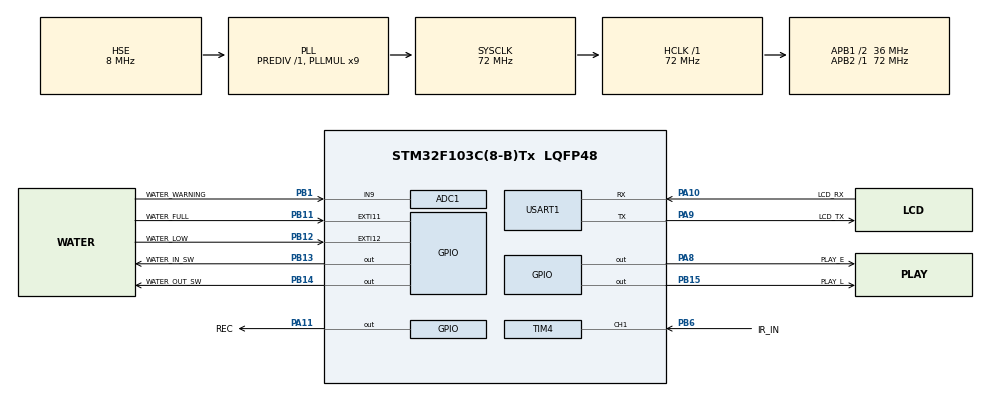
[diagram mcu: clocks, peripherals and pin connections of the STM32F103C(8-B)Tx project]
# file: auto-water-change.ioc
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ADC1.Channel-1\#ChannelRegularConversion=ADC_CHANNEL_9
ADC1.ContinuousConvMode=ENABLE
ADC1.NbrOfConversionFlag=1
ADC1.Rank-1\#ChannelRegularConversion=1
ADC1.SamplingTime-1\#ChannelRegularConversion=ADC_SAMPLETIME_1CYCLE_5
ADC1.master=1
Dma.Request0=USART1_RX
Dma.Request1=USART1_TX
Dma.USART1_RX.0.Direction=DMA_PERIPH_TO_MEMORY
Dma.USART1_RX.0.Instance=DMA1_Channel5
Dma.USART1_RX.0.MemDataAlignment=DMA_MDATAALIGN_BYTE
Dma.USART1_RX.0.MemInc=DMA_MINC_ENABLE
Dma.USART1_RX.0.Mode=DMA_NORMAL
Dma.USART1_RX.0.PeriphDataAlignment=DMA_PDATAALIGN_BYTE
Dma.USART1_RX.0.PeriphInc=DMA_PINC_DISABLE
Dma.USART1_RX.0.Priority=DMA_PRIORITY_LOW
Dma.USART1_TX.1.Direction=DMA_MEMORY_TO_PERIPH
Dma.USART1_TX.1.Instance=DMA1_Channel4
Dma.USART1_TX.1.MemDataAlignment=DMA_MDATAALIGN_BYTE
Dma.USART1_TX.1.MemInc=DMA_MINC_ENABLE
Dma.USART1_TX.1.Mode=DMA_NORMAL
Dma.USART1_TX.1.PeriphDataAlignment=DMA_PDATAALIGN_BYTE
Dma.USART1_TX.1.PeriphInc=DMA_PINC_DISABLE
Dma.USART1_TX.1.Priority=DMA_PRIORITY_LOW
FREERTOS.Tasks01=defaultTask,24,128,StartDefaultTask,Default,NULL,Dynamic,NULL,NULL
FREERTOS.configTOTAL_HEAP_SIZE=10240
FREERTOS.configUSE_NEWLIB_REENTRANT=1
Mcu.Family=STM32F1
Mcu.Name=STM32F103C(8-B)Tx
Mcu.Package=LQFP48
NVIC.DMA1_Channel4_IRQn=true\:6\:0\:true\:false\:true\:true\:false\:true\:true
NVIC.DMA1_Channel5_IRQn=true\:6\:0\:true\:false\:true\:true\:false\:true\:true
NVIC.EXTI15_10_IRQn=true\:6\:0\:true\:false\:true\:true\:true\:true\:true
NVIC.PriorityGroup=NVIC_PRIORITYGROUP_4
NVIC.TIM1_UP_IRQn=true\:15\:0\:false\:false\:true\:false\:false\:true\:true
NVIC.TIM2_IRQn=true\:7\:0\:true\:false\:true\:true\:true\:true\:true
NVIC.TIM3_IRQn=true\:6\:0\:true\:false\:true\:true\:true\:true\:true
NVIC.TIM4_IRQn=true\:5\:0\:true\:false\:true\:true\:true\:true\:true
NVIC.TimeBase=TIM1_UP_IRQn
NVIC.TimeBaseIP=TIM1
NVIC.USART1_IRQn=true\:5\:0\:true\:false\:true\:true\:true\:true\:true
PA10.GPIO_Label=LCD_RX
PA10.Mode=Asynchronous
PA10.Signal=USART1_RX
PA11.GPIO_Label=REC
PA11.GPIO_PuPd=GPIO_PULLDOWN
PA11.Signal=GPIO_Output
PA13.Mode=Serial_Wire
PA13.Signal=SYS_JTMS-SWDIO
PA14.Mode=Serial_Wire
PA14.Signal=SYS_JTCK-SWCLK
PA8.GPIO_Label=PLAY_E
PA8.GPIO_PuPd=GPIO_PULLDOWN
PA8.Signal=GPIO_Output
PA9.GPIO_Label=LCD_TX
PA9.Mode=Asynchronous
PA9.Signal=USART1_TX
PB1.GPIO_Label=WATER_WARNING
PB1.Signal=ADCx_IN9
PB11.GPIO_Label=WATER_FULL
PB11.GPIO_ModeDefaultEXTI=GPIO_MODE_IT_RISING_FALLING
PB11.GPIO_PuPd=GPIO_NOPULL
PB11.Signal=GPXTI11
PB12.GPIO_Label=WATER_LOW
PB12.GPIO_ModeDefaultEXTI=GPIO_MODE_IT_RISING_FALLING
PB12.GPIO_PuPd=GPIO_PULLUP
PB12.Signal=GPXTI12
PB13.GPIO_Label=WATER_IN_SW
PB13.GPIO_PuPd=GPIO_PULLUP
PB13.Signal=GPIO_Output
PB14.GPIO_Label=WATER_OUT_SW
PB14.GPIO_PuPd=GPIO_PULLUP
PB14.Signal=GPIO_Output
PB15.GPIO_Label=PLAY_L
PB15.GPIO_PuPd=GPIO_PULLDOWN
PB15.Signal=GPIO_Output
PB6.GPIO_Label=IR_IN
PB6.Signal=S_TIM4_CH1
PC14-OSC32_IN.Mode=LSE-External-Oscillator
PC14-OSC32_IN.Signal=RCC_OSC32_IN
PC15-OSC32_OUT.Mode=LSE-External-Oscillator
PC15-OSC32_OUT.Signal=RCC_OSC32_OUT
PD0-OSC_IN.Mode=HSE-External-Oscillator
PD0-OSC_IN.Signal=RCC_OSC_IN
PD1-OSC_OUT.Mode=HSE-External-Oscillator
PD1-OSC_OUT.Signal=RCC_OSC_OUT
ProjectManager.HeapSize=0x400
ProjectManager.StackSize=0x800
ProjectManager.TargetToolchain=STM32CubeIDE
RCC.ADCPresc=RCC_ADCPCLK2_DIV6
RCC.AHBFreq_Value=72000000
RCC.APB1CLKDivider=RCC_HCLK_DIV2
RCC.APB1Freq_Value=36000000
RCC.APB1TimFreq_Value=72000000
RCC.APB2Freq_Value=72000000
RCC.APB2TimFreq_Value=72000000
RCC.HCLKFreq_Value=72000000
RCC.PLLMUL=RCC_PLL_MUL9
RCC.PLLSourceVirtual=RCC_PLLSOURCE_HSE
RCC.RTCClockSelection=RCC_RTCCLKSOURCE_LSE
RCC.SYSCLKFreq_VALUE=72000000
RCC.SYSCLKSource=RCC_SYSCLKSOURCE_PLLCLK
RCC.USBFreq_Value=72000000
RTC.Format=RTC_FORMAT_BIN
RTC.WeekDay=RTC_WEEKDAY_SATURDAY
SH.ADCx_IN9.0=ADC1_IN9,IN9
SH.S_TIM4_CH1.0=TIM4_CH1,Input_Capture1_from_TI1
TIM2.AutoReloadPreload=TIM_AUTORELOAD_PRELOAD_ENABLE
TIM2.Channel-Output\ Compare1\ No\ Output=TIM_CHANNEL_1
TIM2.Period=5000 - 1
TIM2.Prescaler=7200 - 1
TIM3.Channel-Output\ Compare1\ No\ Output=TIM_CHANNEL_1
TIM3.Period=10000 - 1
TIM3.Prescaler=7200 - 1
TIM4.AutoReloadPreload=TIM_AUTORELOAD_PRELOAD_ENABLE
TIM4.Channel-Input_Capture1_from_TI1=TIM_CHANNEL_1
TIM4.Period=65535
TIM4.Prescaler=72 - 1
USART1.VirtualMode=VM_ASYNC
VP_FREERTOS_VS_CMSIS_V2.Mode=CMSIS_V2
VP_RTC_VS_RTC_Activate.Mode=RTC_Enabled
VP_RTC_VS_RTC_Calendar.Mode=RTC_Calendar
VP_SYS_VS_tim1.Mode=TIM1
VP_TIM2_VS_no_output1.Mode=Output Compare1 No Output
VP_TIM3_VS_no_output1.Mode=Output Compare1 No Output
board=custom

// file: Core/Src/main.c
/* USER CODE BEGIN Header */
/**
  ******************************************************************************
  * @file           : main.c
  * @brief          : Main program body
  ******************************************************************************
  * @attention
  *
  * Copyright (c) 2022 STMicroelectronics.
  * All rights reserved.
  *
  * This software is licensed under terms that can be found in the LICENSE file
  * in the root directory of this software component.
  * If no LICENSE file comes with this software, it is provided AS-IS.
  *
  ******************************************************************************
  */
/* USER CODE END Header */
#include "main.h"
#include "cmsis_os.h"

/* USER CODE BEGIN Includes */
#include "user_task.h"
#include "bsp_flash.h"
/* USER CODE END Includes */

ADC_HandleTypeDef hadc1;

RTC_HandleTypeDef hrtc;

TIM_HandleTypeDef htim2;
TIM_HandleTypeDef htim3;
TIM_HandleTypeDef htim4;

UART_HandleTypeDef huart1;
DMA_HandleTypeDef hdma_usart1_rx;
DMA_HandleTypeDef hdma_usart1_tx;

/* Definitions for defaultTask */
osThreadId_t defaultTaskHandle;
const osThreadAttr_t defaultTask_attributes = {
  .name = "defaultTask",
  .stack_size = 128 * 4,
  .priority = (osPriority_t) osPriorityNormal,
};

void SystemClock_Config(void);
static void MX_GPIO_Init(void);
static void MX_DMA_Init(void);
static void MX_USART1_UART_Init(void);
static void MX_TIM3_Init(void);
static void MX_RTC_Init(void);
static void MX_TIM2_Init(void);
static void MX_TIM4_Init(void);
static void MX_ADC1_Init(void);
void StartDefaultTask(void *argument);

int main(void)
{

  /* MCU Configuration--------------------------------------------------------*/

  /* Reset of all peripherals, Initializes the Flash interface and the Systick. */
  HAL_Init();

  /* Configure the system clock */
  SystemClock_Config();

  /* USER CODE BEGIN SysInit */
#ifdef RELEASE
	//SetFlashReadProtection(1);//开了读保护后，时间不更新，不想修了
#endif // RELEASE
  /* USER CODE END SysInit */

  /* Initialize all configured peripherals */
  MX_GPIO_Init();
  MX_DMA_Init();
  MX_USART1_UART_Init();
  MX_TIM3_Init();
  MX_RTC_Init();
  MX_TIM2_Init();
  MX_TIM4_Init();
  MX_ADC1_Init();

  /* Init scheduler */
  osKernelInitialize();

  /* Create the thread(s) */
  /* creation of defaultTask */
  defaultTaskHandle = osThreadNew(StartDefaultTask, NULL, &defaultTask_attributes);

  /* USER CODE BEGIN RTOS_THREADS */
		  /* add threads, ... */
	user_task_init();
  /* USER CODE END RTOS_THREADS */

  /* Start scheduler */
  osKernelStart();

  /* We should never get here as control is now taken by the scheduler */
  /* Infinite loop */
	while (1)
	{

	}
}

void SystemClock_Config(void)
{
  RCC_OscInitTypeDef RCC_OscInitStruct = {0};
  RCC_ClkInitTypeDef RCC_ClkInitStruct = {0};
  RCC_PeriphCLKInitTypeDef PeriphClkInit = {0};

  /** Initializes the RCC Oscillators according to the specified parameters
  * in the RCC_OscInitTypeDef structure.
  */
  RCC_OscInitStruct.OscillatorType = RCC_OSCILLATORTYPE_HSE|RCC_OSCILLATORTYPE_LSE;
  RCC_OscInitStruct.HSEState = RCC_HSE_ON;
  RCC_OscInitStruct.HSEPredivValue = RCC_HSE_PREDIV_DIV1;
  RCC_OscInitStruct.LSEState = RCC_LSE_ON;
  RCC_OscInitStruct.HSIState = RCC_HSI_ON;
  RCC_OscInitStruct.PLL.PLLState = RCC_PLL_ON;
  RCC_OscInitStruct.PLL.PLLSource = RCC_PLLSOURCE_HSE;
  RCC_OscInitStruct.PLL.PLLMUL = RCC_PLL_MUL9;
  if (HAL_RCC_OscConfig(&RCC_OscInitStruct) != HAL_OK)
  {
    Error_Handler();
  }

  /** Initializes the CPU, AHB and APB buses clocks
  */
  RCC_ClkInitStruct.ClockType = RCC_CLOCKTYPE_HCLK|RCC_CLOCKTYPE_SYSCLK
                              |RCC_CLOCKTYPE_PCLK1|RCC_CLOCKTYPE_PCLK2;
  RCC_ClkInitStruct.SYSCLKSource = RCC_SYSCLKSOURCE_PLLCLK;
  RCC_ClkInitStruct.AHBCLKDivider = RCC_SYSCLK_DIV1;
  RCC_ClkInitStruct.APB1CLKDivider = RCC_HCLK_DIV2;
  RCC_ClkInitStruct.APB2CLKDivider = RCC_HCLK_DIV1;

  if (HAL_RCC_ClockConfig(&RCC_ClkInitStruct, FLASH_LATENCY_2) != HAL_OK)
  {
    Error_Handler();
  }
  PeriphClkInit.PeriphClockSelection = RCC_PERIPHCLK_RTC|RCC_PERIPHCLK_ADC;
  PeriphClkInit.RTCClockSelection = RCC_RTCCLKSOURCE_LSE;
  PeriphClkInit.AdcClockSelection = RCC_ADCPCLK2_DIV6;
  if (HAL_RCCEx_PeriphCLKConfig(&PeriphClkInit) != HAL_OK)
  {
    Error_Handler();
  }
}

static void MX_ADC1_Init(void)
{

  ADC_ChannelConfTypeDef sConfig = {0};

  /** Common config
  */
  hadc1.Instance = ADC1;
  hadc1.Init.ScanConvMode = ADC_SCAN_DISABLE;
  hadc1.Init.ContinuousConvMode = ENABLE;
  hadc1.Init.DiscontinuousConvMode = DISABLE;
  hadc1.Init.ExternalTrigConv = ADC_SOFTWARE_START;
  hadc1.Init.DataAlign = ADC_DATAALIGN_RIGHT;
  hadc1.Init.NbrOfConversion = 1;
  if (HAL_ADC_Init(&hadc1) != HAL_OK)
  {
    Error_Handler();
  }

  /** Configure Regular Channel
  */
  sConfig.Channel = ADC_CHANNEL_9;
  sConfig.Rank = ADC_REGULAR_RANK_1;
  sConfig.SamplingTime = ADC_SAMPLETIME_1CYCLE_5;
  if (HAL_ADC_ConfigChannel(&hadc1, &sConfig) != HAL_OK)
  {
    Error_Handler();
  }

}

static void MX_RTC_Init(void)
{

  /* USER CODE BEGIN RTC_Init 0 */
	RTC_TimeTypeDef time;   //时间结构体参数
	RTC_DateTypeDef datebuff;   //日期结构体参数
  /* USER CODE END RTC_Init 0 */

  RTC_TimeTypeDef sTime = {0};
  RTC_DateTypeDef DateToUpdate = {0};

  /* USER CODE BEGIN RTC_Init 1 */
	__HAL_RCC_BKP_CLK_ENABLE();//开启后备区域时钟
	__HAL_RCC_PWR_CLK_ENABLE();//开启电源时钟
	hrtc.Instance = RTC;//虽然不用初始化，但寄存器还是需要赋值
	hrtc.Init.AsynchPrediv = RTC_AUTO_1_SECOND;
	hrtc.Init.OutPut = RTC_OUTPUTSOURCE_ALARM;
	HAL_RTC_MspInit(&hrtc);//需要注册回调函数，不然没有CALLBACK
	if (HAL_RTCEx_BKUPRead(&hrtc, RTC_BKP_DR1) != 0x5051)
	{//不用每次开机都初始化，不然会造成复位时间不准
  /* USER CODE END RTC_Init 1 */

  /** Initialize RTC Only
  */
  hrtc.Instance = RTC;
  hrtc.Init.AsynchPrediv = RTC_AUTO_1_SECOND;
  hrtc.Init.OutPut = RTC_OUTPUTSOURCE_ALARM;
  if (HAL_RTC_Init(&hrtc) != HAL_OK)
  {
    Error_Handler();
  }

  /** Initialize RTC and set the Time and Date
  */
  sTime.Hours = 0;
  sTime.Minutes = 0;
  sTime.Seconds = 0;

  if (HAL_RTC_SetTime(&hrtc, &sTime, RTC_FORMAT_BIN) != HAL_OK)
  {
    Error_Handler();
  }
  DateToUpdate.WeekDay = RTC_WEEKDAY_SATURDAY;
  DateToUpdate.Month = RTC_MONTH_JANUARY;
  DateToUpdate.Date = 1;
  DateToUpdate.Year = 0;

  if (HAL_RTC_SetDate(&hrtc, &DateToUpdate, RTC_FORMAT_BIN) != HAL_OK)
  {
    Error_Handler();
  }
  /* USER CODE BEGIN RTC_Init 2 */
		//__HAL_RTC_SECOND_ENABLE_IT(&hrtc, RTC_IT_SEC);	 //开启RTC时钟秒中断
		//__HAL_RTC_ALARM_EXTI_ENABLE_IT();//开启RTC闹钟中断
		datebuff = DateToUpdate;  //把日期数据拷贝到自己定义的data中
		HAL_RTCEx_BKUPWrite(&hrtc, RTC_BKP_DR1, 0x5051);//向指定的后备区域寄存器写入数据
		HAL_RTCEx_BKUPWrite(&hrtc, RTC_BKP_DR2, (uint16_t)datebuff.Year);
		HAL_RTCEx_BKUPWrite(&hrtc, RTC_BKP_DR3, (uint16_t)datebuff.Month);
		HAL_RTCEx_BKUPWrite(&hrtc, RTC_BKP_DR4, (uint16_t)datebuff.Date);
		HAL_RTCEx_BKUPWrite(&hrtc, RTC_BKP_DR5, (uint16_t)datebuff.WeekDay);

	}
	else
	{
		//datebuff.Year = HAL_RTCEx_BKUPRead(&hrtc, RTC_BKP_DR2);
		//datebuff.Month = HAL_RTCEx_BKUPRead(&hrtc, RTC_BKP_DR3);
		//datebuff.Date = HAL_RTCEx_BKUPRead(&hrtc, RTC_BKP_DR4);
		//datebuff.WeekDay = HAL_RTCEx_BKUPRead(&hrtc, RTC_BKP_DR5);
		//DateToUpdate = datebuff;
		//if (HAL_RTC_SetDate(&hrtc, &DateToUpdate, RTC_FORMAT_BIN) != HAL_OK)
		//{
		//	Error_Handler();
		//}
		//__HAL_RTC_SECOND_ENABLE_IT(&hrtc, RTC_IT_SEC);	 //开启RTC时钟秒中断
		//__HAL_RTC_ALARM_EXTI_ENABLE_IT();//开启RTC闹钟中断
	}
  /* USER CODE END RTC_Init 2 */

}

static void MX_TIM2_Init(void)
{

  TIM_MasterConfigTypeDef sMasterConfig = {0};
  TIM_OC_InitTypeDef sConfigOC = {0};

  htim2.Instance = TIM2;
  htim2.Init.Prescaler = 7200 - 1;
  htim2.Init.CounterMode = TIM_COUNTERMODE_UP;
  htim2.Init.Period = 5000 - 1;
  htim2.Init.ClockDivision = TIM_CLOCKDIVISION_DIV1;
  htim2.Init.AutoReloadPreload = TIM_AUTORELOAD_PRELOAD_ENABLE;
  if (HAL_TIM_OC_Init(&htim2) != HAL_OK)
  {
    Error_Handler();
  }
  sMasterConfig.MasterOutputTrigger = TIM_TRGO_RESET;
  sMasterConfig.MasterSlaveMode = TIM_MASTERSLAVEMODE_DISABLE;
  if (HAL_TIMEx_MasterConfigSynchronization(&htim2, &sMasterConfig) != HAL_OK)
  {
    Error_Handler();
  }
  sConfigOC.OCMode = TIM_OCMODE_TIMING;
  sConfigOC.Pulse = 0;
  sConfigOC.OCPolarity = TIM_OCPOLARITY_HIGH;
  sConfigOC.OCFastMode = TIM_OCFAST_DISABLE;
  if (HAL_TIM_OC_ConfigChannel(&htim2, &sConfigOC, TIM_CHANNEL_1) != HAL_OK)
  {
    Error_Handler();
  }

}

static void MX_TIM3_Init(void)
{

  TIM_MasterConfigTypeDef sMasterConfig = {0};
  TIM_OC_InitTypeDef sConfigOC = {0};

  htim3.Instance = TIM3;
  htim3.Init.Prescaler = 7200 - 1;
  htim3.Init.CounterMode = TIM_COUNTERMODE_UP;
  htim3.Init.Period = 10000 - 1;
  htim3.Init.ClockDivision = TIM_CLOCKDIVISION_DIV1;
  htim3.Init.AutoReloadPreload = TIM_AUTORELOAD_PRELOAD_DISABLE;
  if (HAL_TIM_OC_Init(&htim3) != HAL_OK)
  {
    Error_Handler();
  }
  sMasterConfig.MasterOutputTrigger = TIM_TRGO_RESET;
  sMasterConfig.MasterSlaveMode = TIM_MASTERSLAVEMODE_DISABLE;
  if (HAL_TIMEx_MasterConfigSynchronization(&htim3, &sMasterConfig) != HAL_OK)
  {
    Error_Handler();
  }
  sConfigOC.OCMode = TIM_OCMODE_TIMING;
  sConfigOC.Pulse = 0;
  sConfigOC.OCPolarity = TIM_OCPOLARITY_HIGH;
  sConfigOC.OCFastMode = TIM_OCFAST_DISABLE;
  if (HAL_TIM_OC_ConfigChannel(&htim3, &sConfigOC, TIM_CHANNEL_1) != HAL_OK)
  {
    Error_Handler();
  }

}

static void MX_TIM4_Init(void)
{

  TIM_MasterConfigTypeDef sMasterConfig = {0};
  TIM_IC_InitTypeDef sConfigIC = {0};

  htim4.Instance = TIM4;
  htim4.Init.Prescaler = 72 - 1;
  htim4.Init.CounterMode = TIM_COUNTERMODE_UP;
  htim4.Init.Period = 65535;
  htim4.Init.ClockDivision = TIM_CLOCKDIVISION_DIV1;
  htim4.Init.AutoReloadPreload = TIM_AUTORELOAD_PRELOAD_ENABLE;
  if (HAL_TIM_IC_Init(&htim4) != HAL_OK)
  {
    Error_Handler();
  }
  sMasterConfig.MasterOutputTrigger = TIM_TRGO_RESET;
  sMasterConfig.MasterSlaveMode = TIM_MASTERSLAVEMODE_DISABLE;
  if (HAL_TIMEx_MasterConfigSynchronization(&htim4, &sMasterConfig) != HAL_OK)
  {
    Error_Handler();
  }
  sConfigIC.ICPolarity = TIM_INPUTCHANNELPOLARITY_RISING;
  sConfigIC.ICSelection = TIM_ICSELECTION_DIRECTTI;
  sConfigIC.ICPrescaler = TIM_ICPSC_DIV1;
  sConfigIC.ICFilter = 0;
  if (HAL_TIM_IC_ConfigChannel(&htim4, &sConfigIC, TIM_CHANNEL_1) != HAL_OK)
  {
    Error_Handler();
  }

}

static void MX_USART1_UART_Init(void)
{

  huart1.Instance = USART1;
  huart1.Init.BaudRate = 115200;
  huart1.Init.WordLength = UART_WORDLENGTH_8B;
  huart1.Init.StopBits = UART_STOPBITS_1;
  huart1.Init.Parity = UART_PARITY_NONE;
  huart1.Init.Mode = UART_MODE_TX_RX;
  huart1.Init.HwFlowCtl = UART_HWCONTROL_NONE;
  huart1.Init.OverSampling = UART_OVERSAMPLING_16;
  if (HAL_UART_Init(&huart1) != HAL_OK)
  {
    Error_Handler();
  }

}

static void MX_DMA_Init(void)
{

  /* DMA controller clock enable */
  __HAL_RCC_DMA1_CLK_ENABLE();

  /* DMA interrupt init */
  /* DMA1_Channel4_IRQn interrupt configuration */
  HAL_NVIC_SetPriority(DMA1_Channel4_IRQn, 6, 0);
  HAL_NVIC_EnableIRQ(DMA1_Channel4_IRQn);
  /* DMA1_Channel5_IRQn interrupt configuration */
  HAL_NVIC_SetPriority(DMA1_Channel5_IRQn, 6, 0);
  HAL_NVIC_EnableIRQ(DMA1_Channel5_IRQn);

}

static void MX_GPIO_Init(void)
{
  GPIO_InitTypeDef GPIO_InitStruct = {0};

  /* GPIO Ports Clock Enable */
  __HAL_RCC_GPIOC_CLK_ENABLE();
  __HAL_RCC_GPIOD_CLK_ENABLE();
  __HAL_RCC_GPIOB_CLK_ENABLE();
  __HAL_RCC_GPIOA_CLK_ENABLE();

  /*Configure GPIO pin Output Level */
  HAL_GPIO_WritePin(GPIOB, WATER_IN_SW_Pin|WATER_OUT_SW_Pin|PLAY_L_Pin, GPIO_PIN_RESET);

  /*Configure GPIO pin Output Level */
  HAL_GPIO_WritePin(GPIOA, PLAY_E_Pin|REC_Pin, GPIO_PIN_RESET);

  /*Configure GPIO pin : WATER_FULL_Pin */
  GPIO_InitStruct.Pin = WATER_FULL_Pin;
  GPIO_InitStruct.Mode = GPIO_MODE_IT_RISING_FALLING;
  GPIO_InitStruct.Pull = GPIO_NOPULL;
  HAL_GPIO_Init(WATER_FULL_GPIO_Port, &GPIO_InitStruct);

  /*Configure GPIO pin : WATER_LOW_Pin */
  GPIO_InitStruct.Pin = WATER_LOW_Pin;
  GPIO_InitStruct.Mode = GPIO_MODE_IT_RISING_FALLING;
  GPIO_InitStruct.Pull = GPIO_PULLUP;
  HAL_GPIO_Init(WATER_LOW_GPIO_Port, &GPIO_InitStruct);

  /*Configure GPIO pins : WATER_IN_SW_Pin WATER_OUT_SW_Pin */
  GPIO_InitStruct.Pin = WATER_IN_SW_Pin|WATER_OUT_SW_Pin;
  GPIO_InitStruct.Mode = GPIO_MODE_OUTPUT_PP;
  GPIO_InitStruct.Pull = GPIO_PULLUP;
  GPIO_InitStruct.Speed = GPIO_SPEED_FREQ_LOW;
  HAL_GPIO_Init(GPIOB, &GPIO_InitStruct);

  /*Configure GPIO pin : PLAY_L_Pin */
  GPIO_InitStruct.Pin = PLAY_L_Pin;
  GPIO_InitStruct.Mode = GPIO_MODE_OUTPUT_PP;
  GPIO_InitStruct.Pull = GPIO_PULLDOWN;
  GPIO_InitStruct.Speed = GPIO_SPEED_FREQ_LOW;
  HAL_GPIO_Init(PLAY_L_GPIO_Port, &GPIO_InitStruct);

  /*Configure GPIO pins : PLAY_E_Pin REC_Pin */
  GPIO_InitStruct.Pin = PLAY_E_Pin|REC_Pin;
  GPIO_InitStruct.Mode = GPIO_MODE_OUTPUT_PP;
  GPIO_InitStruct.Pull = GPIO_PULLDOWN;
  GPIO_InitStruct.Speed = GPIO_SPEED_FREQ_LOW;
  HAL_GPIO_Init(GPIOA, &GPIO_InitStruct);

  /* EXTI interrupt init*/
  HAL_NVIC_SetPriority(EXTI15_10_IRQn, 6, 0);
  HAL_NVIC_EnableIRQ(EXTI15_10_IRQn);

}

void StartDefaultTask(void *argument)
{
  /* USER CODE BEGIN 5 */
	begin();
	/* Infinite loop */
	for (;;)
	{
		loop();
	}
  /* USER CODE END 5 */
}

void HAL_TIM_PeriodElapsedCallback(TIM_HandleTypeDef *htim)
{
  if (htim->Instance == TIM1) {
    HAL_IncTick();
  }
}

void Error_Handler(void)
{
	__disable_irq();
	while (1)
	{
	}
}
